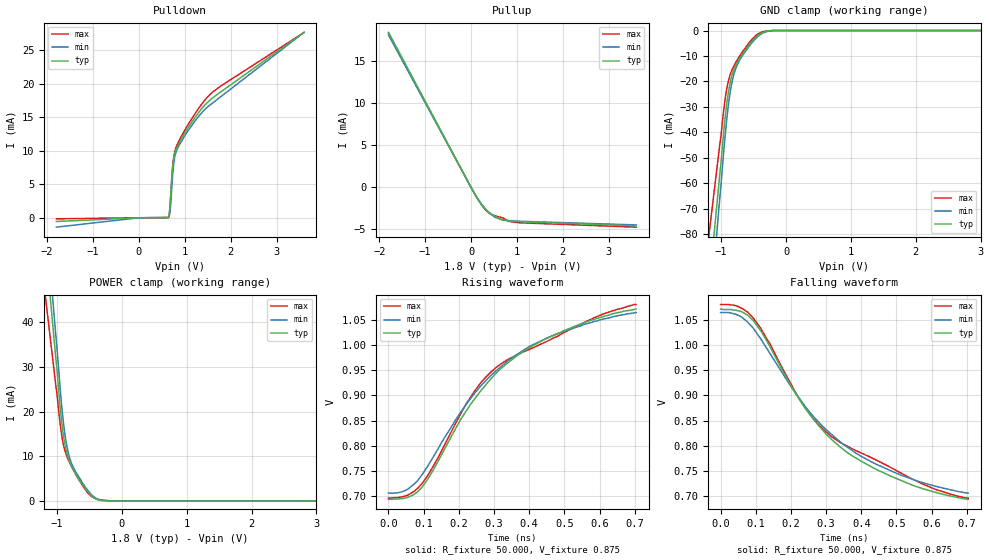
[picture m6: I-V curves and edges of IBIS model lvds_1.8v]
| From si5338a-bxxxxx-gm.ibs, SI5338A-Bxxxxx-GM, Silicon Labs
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[Model]   lvds_1.8v
Model_type 3-state
Vref=8.750E-01
Rref=5.000E+01
Cref=0.000E+00
Vmeas=9.000E-01
C_comp   1.110E-12   1.100E-12   1.120E-12
[Voltage Range]   1.800E+00   1.710E+00   1.980E+00
[POWER Clamp Reference]   1.800E+00   1.710E+00   1.980E+00
[GND Clamp Reference]   0.000E+00   0.000E+00   0.000E+00
[Pullup Reference]   1.800E+00   1.710E+00   1.980E+00
[Pulldown Reference]   0.000E+00   0.000E+00   0.000E+00
[Temperature Range]   25   85   -40
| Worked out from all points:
|   slope of the pulldown table from 0 to 0.27 V, typ, clamps not added: 8.68 kohm
|   slope of the pullup table from 0 to 0.27 V, typ, clamps not added: 117 ohm
|   GND clamp passes 1 mA (typ) near -0.38 V on its own axis
|   POWER clamp passes 1 mA (typ) near -0.45 V on its own axis
|   rising waveform, R_fixture 50.000, V_fixture 0.875: 20-80 % time 263ps typ, 263ps min, 300ps max; typ from 0.694 V to 1.07 V
|   falling waveform, R_fixture 50.000, V_fixture 0.875: 20-80 % time 259ps typ, 271ps min, 299ps max; typ from 1.07 V to 0.694 V
[GND Clamp]
-1.8V     -263.9mA   -295.6mA   -210.5mA
-1.02V    -56.23mA   -65.5mA    -44.47mA
-1V       -51.38mA   -59.96mA   -40.77mA
-960mV    -39.75mA   -47.42mA   -31.1mA
-920mV    -30.12mA   -36.4mA    -23.78mA
-880mV    -23.01mA   -27.6mA    -18.94mA
-820mV    -16.55mA   -18.78mA   -14.74mA
-760mV    -12.98mA   -13.97mA   -11.91mA
-700mV    -10.36mA   -11mA      -9.443mA
-440mV    -2.032mA   -2.462mA   -1.461mA
-200mV    0A         0A         0A
3.6V      0A         0A         0A
[Power Clamp]
-1.8V     155.7mA    172.9mA    122.6mA
-1.76V    149.4mA    165.4mA    117.7mA
-1.02V    32.24mA    37.38mA    26.08mA
-920mV    16.76mA    20.13mA    14.05mA
-880mV    12.85mA    15.16mA    11.39mA
-840mV    10.28mA    11.7mA     9.726mA
-780mV    7.953mA    8.59mA     7.87mA
-720mV    6.284mA    6.777mA    6.253mA
-460mV    1.084mA    1.337mA    942.8uA
-340mV    213.4uA    277.9uA    308.2uA
-100mV    6.557uA    5.608uA    10.98uA
3.6V      0A         0A         0A
[Pullup]
-1.8V     18.45mA    18.12mA    18.36mA
0V        0A         0A         0A
140mV     -1.315mA   -1.293mA   -1.338mA
220mV     -1.97mA    -1.911mA   -2.011mA
320mV     -2.62mA    -2.597mA   -2.697mA
420mV     -3.1mA     -3.108mA   -3.15mA
520mV     -3.396mA   -3.552mA   -3.379mA
660mV     -3.841mA   -3.816mA   -3.572mA
820mV     -3.98mA    -3.936mA   -4.03mA
1.06V     -4.084mA   -4.021mA   -4.204mA
3.6V      -4.583mA   -4.457mA   -4.724mA
[Pulldown]
-1.8V     -555.1uA   -1.4mA     -156.9uA
0V        0A         0A         0A
640mV     73.7uA     21.44uA    11.3uA
660mV     586.8uA    179.4uA    344.7uA
680mV     2.079mA    964.8uA    1.69mA
720mV     6.467mA    4.917mA    6.333mA
740mV     8.005mA    6.855mA    8.05mA
780mV     9.632mA    9.065mA    9.869mA
940mV     11.95mA    11.57mA    12.34mA
1.32V     15.87mA    15.28mA    16.51mA
1.78V     18.75mA    18.04mA    19.63mA
3.6V      27.66mA    27.66mA    27.64mA
[Rising Waveform]
R_fixture = 50.000
V_fixture = 0.875
V_fixture_min = 0.875
V_fixture_max = 0.875
|  time   V(typ)   V(min)   V(max)
0s        693.7mV    706.1mV    696.3mV
54ps      697.4mV    713.4mV    701.8mV
96ps      718.5mV    743.1mV    725.7mV
222ps     870mV      883.1mV    884.2mV
263ps     909.3mV    919mV      925.4mV
308ps     945.2mV    949.7mV    956.3mV
379ps     985.1mV    987.3mV    984.7mV
451ps     1.013V     1.014V     1.007V
599ps     1.054V     1.049V     1.058V
704ps     1.071V     1.064V     1.08V
[Falling Waveform]
R_fixture = 50.000
V_fixture = 0.875
V_fixture_min = 0.875
V_fixture_max = 0.875
|  time   V(typ)   V(min)   V(max)
0s        1.071V     1.064V     1.08V
53ps      1.067V     1.058V     1.075V
93ps      1.048V     1.033V     1.053V
138ps     999.4mV    985.6mV    1.005V
245ps     870.1mV    873.7mV    870.8mV
289ps     831.9mV    839.5mV    834.6mV
348ps     793.1mV    803.2mV    803.5mV
513ps     731.2mV    741.7mV    745.7mV
611ps     707.7mV    719.8mV    713.5mV
704ps     693.7mV    706.1mV    696.3mV
[Ramp]
dV/dt_f   2.2636E-01/2.5934E-10   2.1473E-01/2.7122E-10   2.3022E-01/2.9956E-10
dV/dt_r   2.2636E-01/2.6200E-10   2.1473E-01/2.6380E-10   2.3022E-01/3.0070E-10
R_load = 50
